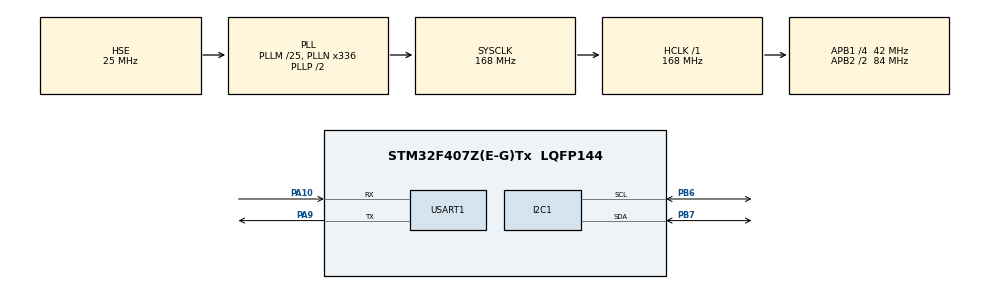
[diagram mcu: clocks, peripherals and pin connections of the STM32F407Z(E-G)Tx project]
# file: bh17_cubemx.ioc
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Mcu.Family=STM32F4
Mcu.Name=STM32F407Z(E-G)Tx
Mcu.Package=LQFP144
NVIC.PriorityGroup=NVIC_PRIORITYGROUP_4
PA10.Mode=Asynchronous
PA10.Signal=USART1_RX
PA9.Mode=Asynchronous
PA9.Signal=USART1_TX
PB6.Mode=I2C
PB6.Signal=I2C1_SCL
PB7.Mode=I2C
PB7.Signal=I2C1_SDA
PH0-OSC_IN.Mode=HSE-External-Oscillator
PH0-OSC_IN.Signal=RCC_OSC_IN
PH1-OSC_OUT.Mode=HSE-External-Oscillator
PH1-OSC_OUT.Signal=RCC_OSC_OUT
ProjectManager.HeapSize=0x200
ProjectManager.StackSize=0x400
ProjectManager.TargetToolchain=STM32CubeIDE
RCC.48MHZClocksFreq_Value=84000000
RCC.AHBFreq_Value=168000000
RCC.APB1CLKDivider=RCC_HCLK_DIV4
RCC.APB1Freq_Value=42000000
RCC.APB1TimFreq_Value=84000000
RCC.APB2CLKDivider=RCC_HCLK_DIV2
RCC.APB2Freq_Value=84000000
RCC.APB2TimFreq_Value=168000000
RCC.CortexFreq_Value=168000000
RCC.HCLKFreq_Value=168000000
RCC.HSE_VALUE=25000000
RCC.HSI_VALUE=16000000
RCC.LSE_VALUE=32768
RCC.PLLM=25
RCC.PLLN=336
RCC.PLLSourceVirtual=RCC_PLLSOURCE_HSE
RCC.SYSCLKFreq_VALUE=168000000
RCC.SYSCLKSource=RCC_SYSCLKSOURCE_PLLCLK
RCC.VCOOutputFreq_Value=336000000
USART1.VirtualMode=VM_ASYNC
board=custom

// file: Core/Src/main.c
/* USER CODE BEGIN Header */
/**
  ******************************************************************************
  * @file           : main.c
  * @brief          : Main program body
  ******************************************************************************
  * @attention
  *
  * Copyright (c) 2026 STMicroelectronics.
  * All rights reserved.
  *
  * This software is licensed under terms that can be found in the LICENSE file
  * in the root directory of this software component.
  * If no LICENSE file comes with this software, it is provided AS-IS.
  *
  ******************************************************************************
  */
/* USER CODE END Header */
#include "main.h"

/* USER CODE BEGIN Includes */
#include <stdio.h>
/* USER CODE END Includes */

/* USER CODE BEGIN PD */
#define AL_BH17_SLAVE_ADDRESS (0x23 << 1)
/* USER CODE END PD */

I2C_HandleTypeDef hi2c1;

UART_HandleTypeDef huart1;

void SystemClock_Config(void);
static void MX_GPIO_Init(void);
static void MX_I2C1_Init(void);
static void MX_USART1_UART_Init(void);

/* USER CODE BEGIN 0 */
#define hUART           huart1
int _write( int32_t file , uint8_t *ptr , int32_t len )
{
    /* Implement your write code here, this is used by puts and printf for example */
    for ( int16_t i = 0 ; i < len ; ++i )
    {
        HAL_UART_Transmit( &hUART, ptr++, 1, 100);
    }
    return len;
}

static uint8_t SENSOR_AL_BH17_Read_Bytes(uint8_t devAddr, uint8_t length, uint8_t *data)
{
	HAL_StatusTypeDef  i2cRW_status;

    i2cRW_status = HAL_I2C_Master_Receive(&hi2c1, devAddr, data, length, 1000);
    if(HAL_OK != i2cRW_status)
    {
    	printf("Read error:%d\r\n", i2cRW_status);
        return 0;
    }

    return length;
}

static int8_t SENSOR_AL_BH17_Write_Bytes(uint8_t devAddr, uint8_t length, uint8_t *data)
{
	HAL_StatusTypeDef  i2cRW_status;

    i2cRW_status = HAL_I2C_Master_Transmit(&hi2c1, devAddr, data, length, 1000);
    if(HAL_OK != i2cRW_status)
    {
    	printf("Write error:%d\r\n", i2cRW_status);
    	return -1;
    }

    return 0;
}
/* USER CODE END 0 */

int main(void)
{

  /* USER CODE BEGIN 1 */
    uint8_t dataVal[2];
    uint16_t data16Val;
    float alData;
  /* USER CODE END 1 */

  /* MCU Configuration--------------------------------------------------------*/

  /* Reset of all peripherals, Initializes the Flash interface and the Systick. */
  HAL_Init();

  /* Configure the system clock */
  SystemClock_Config();

  /* Initialize all configured peripherals */
  MX_GPIO_Init();
  MX_I2C1_Init();
  MX_USART1_UART_Init();
  /* USER CODE BEGIN 2 */
  printf("I2C-BH17 test\r\n");

  HAL_Delay(1000);
  dataVal[0] = 0x10;
  SENSOR_AL_BH17_Write_Bytes(AL_BH17_SLAVE_ADDRESS, 1, dataVal);
  HAL_Delay(100);
  /* USER CODE END 2 */

  /* Infinite loop */
  /* USER CODE BEGIN WHILE */
  while (1)
  {
	HAL_Delay(1000);
	SENSOR_AL_BH17_Read_Bytes(AL_BH17_SLAVE_ADDRESS, 2, dataVal);
	data16Val = (dataVal[0] << 8) | dataVal[1];
	printf("Data Val: 0x%04X\r\n", data16Val);
	alData = (float)data16Val / 1.2;
	printf("Lux: %f\r\n", alData);

    /* USER CODE END WHILE */

  }
}

void SystemClock_Config(void)
{
  RCC_OscInitTypeDef RCC_OscInitStruct = {0};
  RCC_ClkInitTypeDef RCC_ClkInitStruct = {0};

  /** Configure the main internal regulator output voltage
  */
  __HAL_RCC_PWR_CLK_ENABLE();
  __HAL_PWR_VOLTAGESCALING_CONFIG(PWR_REGULATOR_VOLTAGE_SCALE1);

  /** Initializes the RCC Oscillators according to the specified parameters
  * in the RCC_OscInitTypeDef structure.
  */
  RCC_OscInitStruct.OscillatorType = RCC_OSCILLATORTYPE_HSE;
  RCC_OscInitStruct.HSEState = RCC_HSE_ON;
  RCC_OscInitStruct.PLL.PLLState = RCC_PLL_ON;
  RCC_OscInitStruct.PLL.PLLSource = RCC_PLLSOURCE_HSE;
  RCC_OscInitStruct.PLL.PLLM = 25;
  RCC_OscInitStruct.PLL.PLLN = 336;
  RCC_OscInitStruct.PLL.PLLP = RCC_PLLP_DIV2;
  RCC_OscInitStruct.PLL.PLLQ = 4;
  if (HAL_RCC_OscConfig(&RCC_OscInitStruct) != HAL_OK)
  {
    Error_Handler();
  }

  /** Initializes the CPU, AHB and APB buses clocks
  */
  RCC_ClkInitStruct.ClockType = RCC_CLOCKTYPE_HCLK|RCC_CLOCKTYPE_SYSCLK
                              |RCC_CLOCKTYPE_PCLK1|RCC_CLOCKTYPE_PCLK2;
  RCC_ClkInitStruct.SYSCLKSource = RCC_SYSCLKSOURCE_PLLCLK;
  RCC_ClkInitStruct.AHBCLKDivider = RCC_SYSCLK_DIV1;
  RCC_ClkInitStruct.APB1CLKDivider = RCC_HCLK_DIV4;
  RCC_ClkInitStruct.APB2CLKDivider = RCC_HCLK_DIV2;

  if (HAL_RCC_ClockConfig(&RCC_ClkInitStruct, FLASH_LATENCY_5) != HAL_OK)
  {
    Error_Handler();
  }
}

static void MX_I2C1_Init(void)
{

  hi2c1.Instance = I2C1;
  hi2c1.Init.ClockSpeed = 100000;
  hi2c1.Init.DutyCycle = I2C_DUTYCYCLE_2;
  hi2c1.Init.OwnAddress1 = 0;
  hi2c1.Init.AddressingMode = I2C_ADDRESSINGMODE_7BIT;
  hi2c1.Init.DualAddressMode = I2C_DUALADDRESS_DISABLE;
  hi2c1.Init.OwnAddress2 = 0;
  hi2c1.Init.GeneralCallMode = I2C_GENERALCALL_DISABLE;
  hi2c1.Init.NoStretchMode = I2C_NOSTRETCH_DISABLE;
  if (HAL_I2C_Init(&hi2c1) != HAL_OK)
  {
    Error_Handler();
  }

}

static void MX_USART1_UART_Init(void)
{

  huart1.Instance = USART1;
  huart1.Init.BaudRate = 115200;
  huart1.Init.WordLength = UART_WORDLENGTH_8B;
  huart1.Init.StopBits = UART_STOPBITS_1;
  huart1.Init.Parity = UART_PARITY_NONE;
  huart1.Init.Mode = UART_MODE_TX_RX;
  huart1.Init.HwFlowCtl = UART_HWCONTROL_NONE;
  huart1.Init.OverSampling = UART_OVERSAMPLING_16;
  if (HAL_UART_Init(&huart1) != HAL_OK)
  {
    Error_Handler();
  }

}

static void MX_GPIO_Init(void)
{

  /* GPIO Ports Clock Enable */
  __HAL_RCC_GPIOH_CLK_ENABLE();
  __HAL_RCC_GPIOA_CLK_ENABLE();
  __HAL_RCC_GPIOB_CLK_ENABLE();

}

void Error_Handler(void)
{
  __disable_irq();
  while (1)
  {
  }
}
